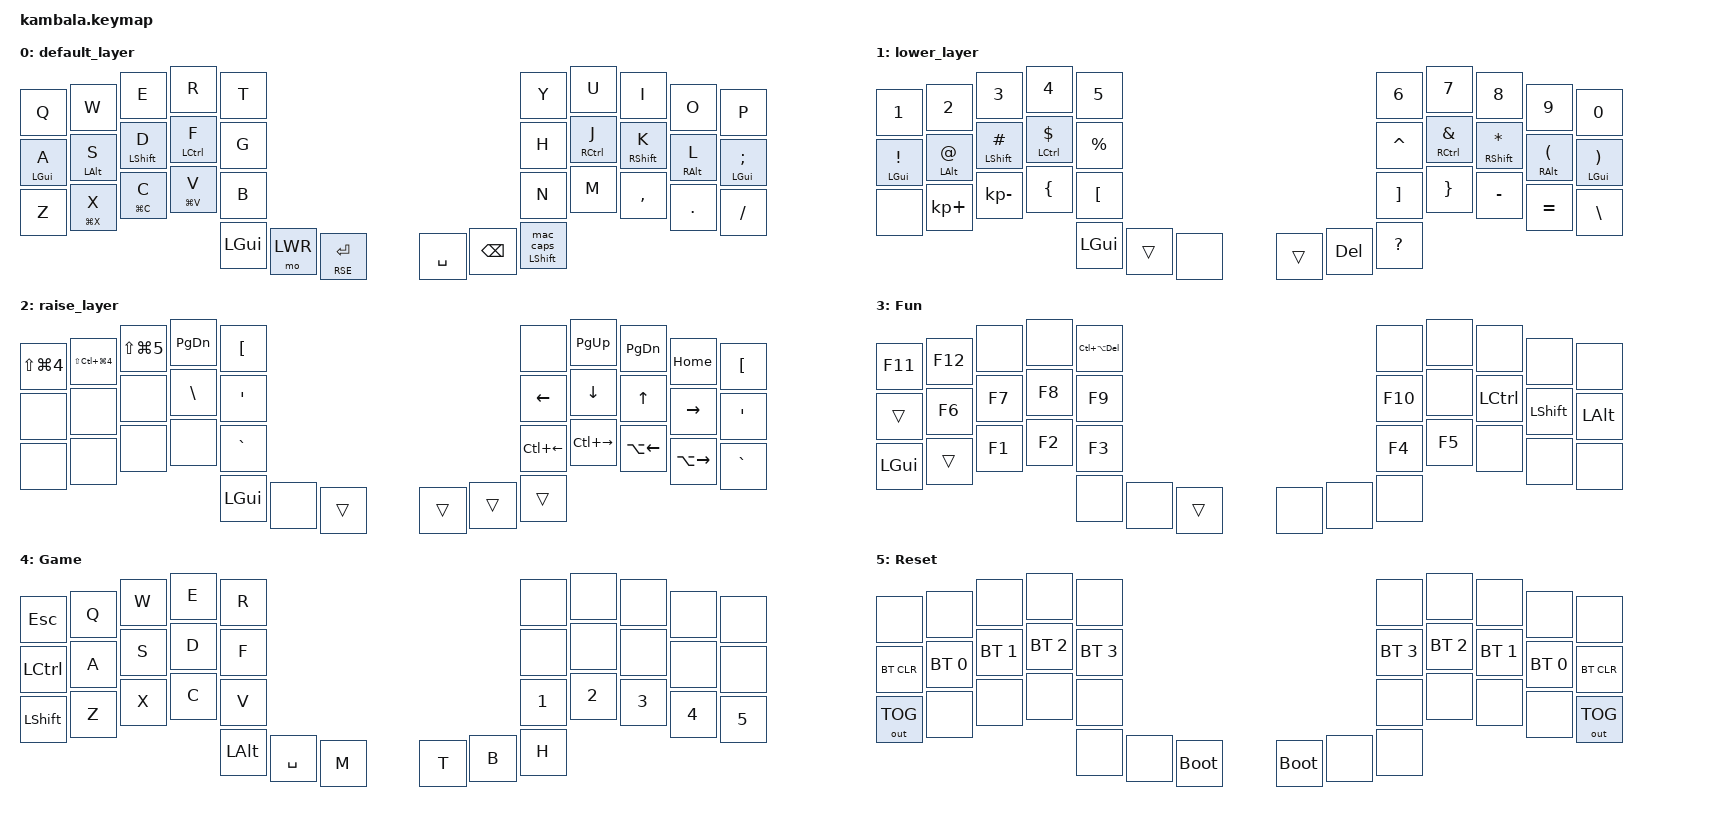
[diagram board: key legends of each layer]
/*
 * Copyright (c) 2020 The ZMK Contributors
 *
 * SPDX-License-Identifier: MIT
 */

#include <behaviors.dtsi>
#include <dt-bindings/zmk/keys.h>
#include <dt-bindings/zmk/bt.h>
#include <dt-bindings/zmk/outputs.h>
 
#define KEYS_L 0 1 2 3 4 10 11 12 13 14 20 21 22 23 24
#define KEYS_R 5 6 7 8 9 15 16 17 18 19 25 26 27 28 29
#define THUMBS 30 31 32 33 34 35
#define DEF 0
#define LWR 1
#define RSE 2
#define FUNCTION 3
#define GAME 4
#define RESET 5

&soft_off {
    compatible = "zmk,behavior-soft-off-led";
    hold-time-ms = <3000>;
    /delete-property/ split-peripheral-off-on-press;
};

&mt { flavor = "tap-preferred"; };

&lt {
    flavor = "balanced";
    tapping-term-ms = <200>;
    quick-tap-ms = <175>;
};

/ {

    macros {
        mac_caps: mac_caps {
            compatible = "zmk,behavior-macro";
            #binding-cells = <0>;
            tap-ms = <40>;     /* Holds the key down long enough for macOS to catch it */
            wait-ms = <40>;    /* Enforces isolation from the Shift release track */
            bindings = <&kp CAPS>;
        };
    };

    behaviors {
        shft_caps: shft_caps {
            compatible = "zmk,behavior-hold-tap";
            #binding-cells = <2>;
            flavor = "tap-preferred";
            tapping-term-ms = <200>;
            quick-tap-ms = <175>;
            bindings = <&kp>, <&mac_caps>; // Binds the macro strictly to the tap action
        };

        hml: hml {
            compatible = "zmk,behavior-hold-tap";
            #binding-cells = <2>;
            flavor = "balanced";
            tapping-term-ms = <2000>;
            quick-tap-ms = <175>;
            require-prior-idle-ms = <250>;
            hold-trigger-key-positions = <KEYS_R THUMBS>;
            hold-trigger-on-release;
            bindings = <&kp>, <&kp>;
        };

        hmr: hmr {
            compatible = "zmk,behavior-hold-tap";
            #binding-cells = <2>;
            flavor = "balanced";
            tapping-term-ms = <2000>;
            quick-tap-ms = <175>;
            require-prior-idle-ms = <250>;
            hold-trigger-key-positions = <KEYS_L THUMBS>;
            hold-trigger-on-release;
            bindings = <&kp>, <&kp>;
        };

        hml_s: hml_s {
            compatible = "zmk,behavior-hold-tap";
            #binding-cells = <2>;
            flavor = "balanced";
            tapping-term-ms = <2000>;
            quick-tap-ms = <175>;
            require-prior-idle-ms = <0>;
            hold-trigger-key-positions = <KEYS_R THUMBS>;
            hold-trigger-on-release;
            bindings = <&kp>, <&kp>;
        };

        hmr_s: hmr_s {
            compatible = "zmk,behavior-hold-tap";
            #binding-cells = <2>;
            flavor = "balanced";
            tapping-term-ms = <2000>;
            quick-tap-ms = <175>;
            require-prior-idle-ms = <0>;
            hold-trigger-key-positions = <KEYS_L THUMBS>;
            hold-trigger-on-release;
            bindings = <&kp>, <&kp>;
        };
    };

    combos {
        compatible = "zmk,combos";
        timeout-ms = <20>;
        require-prior-idle-ms = <250>;

        combo_reset_layer_left {
            key-positions = <20 24>;
            bindings = <&to RESET>;
        };

        combo_reset_layer_right {
            key-positions = <25 29>;
            bindings = <&to RESET>;
        };

        combo_reset_central {
            key-positions = <32 33>;
            bindings = <&bootloader>;
            require-prior-idle-ms = <2000>;
        };

        combo_normal {
            key-positions = <7 8>;
            bindings = <&to DEF>;
        };

        combo_fn {
            key-positions = <27 28>;
            bindings = <&sl FUNCTION>;
        };

        combo_game {
            key-positions = <5 9>;
            bindings = <&to GAME>;
        };

        combo_esc {
            key-positions = <1 2>;
            bindings = <&kp ESCAPE>;
        };

        combo_tab {
            key-positions = <2 3>;
            bindings = <&kp TAB>;
        };

        combo_cdel {
            key-positions = <11 12>;
            bindings = <&kp LC(BACKSPACE)>;
        };

        combo_term1 {
            key-positions = <20 21>;
            bindings = <&kp LG(BSLH)>;
        };

        combo_term2 {
            key-positions = <28 29>;
            bindings = <&kp LG(GRAVE)>;
        };

        combo_softoff {
            key-positions = <3 4>;
            bindings = <&soft_off>;
        };
    };

    keymap {
        compatible = "zmk,keymap";

        default_layer {
            bindings = <
&kp Q        &kp W        &kp E         &kp R         &kp T        &kp Y      &kp U          &kp I           &kp O        &kp P
&hml LGUI A  &hml LALT S  &hml LSHFT D  &hml LCTRL F  &kp G        &kp H      &hmr RCTRL J   &hmr RSHFT K    &hmr RALT L  &hmr LGUI SEMI
&kp Z        &mt LG(X) X  &mt LG(C) C   &mt LG(V) V   &kp B        &kp N      &kp M          &kp COMMA       &kp DOT      &kp FSLH
                          &kp LGUI      &mo LWR       &lt RSE RET  &kp SPACE  &kp BACKSPACE  &shft_caps LSHFT 0
            >;
        };

        lower_layer {
            bindings = <
&kp N1            &kp N2          &kp N3             &kp N4               &kp N5            &kp N6             &kp N7             &kp N8              &kp N9                        &kp N0
&hml_s LGUI EXCL  &hml_s LALT AT  &hml_s LSHFT HASH  &hml_s LCTRL DOLLAR  &kp PERCENT       &kp CARET          &hmr_s RCTRL AMPS  &hmr_s RSHFT ASTRK  &hmr_s RALT LEFT_PARENTHESIS  &hmr_s LGUI RIGHT_PARENTHESIS
&none             &kp KP_PLUS     &kp KP_MINUS       &kp LEFT_BRACE       &kp LEFT_BRACKET  &kp RIGHT_BRACKET  &kp RIGHT_BRACE    &kp MINUS           &kp EQUAL                     &kp BSLH
                                  &kp LGUI           &trans               &none             &trans             &kp DEL            &kp QMARK
            >;
        };

        raise_layer {
            bindings = <
&kp LS(LG(N4))  &kp LS(LC(LG(N4)))  &kp LS(LG(N5))  &kp PAGE_DOWN  &kp LBKT   &none               &kp PG_UP            &kp PG_DN     &kp HOME       &kp LBKT
&none           &none               &none           &kp BSLH       &kp SQT    &kp LEFT            &kp DOWN             &kp UP_ARROW  &kp RIGHT      &kp SQT
&none           &none               &none           &none          &kp GRAVE  &kp LC(LEFT_ARROW)  &kp LC(RIGHT_ARROW)  &kp LA(LEFT)  &kp LA(RIGHT)  &kp GRAVE
                                    &kp LGUI        &none          &trans     &trans              &trans               &trans
            >;
        };

        Fun {
            bindings = <
&kp F11   &kp F12  &none   &none   &kp LC(LA(DEL))  &none    &none   &none      &none      &none
&trans    &kp F6   &kp F7  &kp F8  &kp F9           &kp F10  &none   &kp LCTRL  &kp LSHFT  &kp LALT
&kp LGUI  &trans   &kp F1  &kp F2  &kp F3           &kp F4   &kp F5  &none      &none      &none
                   &none   &none   &trans           &none    &none   &none
            >;
        };

        Game {
            bindings = <
&kp ESCAPE  &kp Q  &kp W     &kp E      &kp R  &none   &none   &none   &none   &none
&kp LCTRL   &kp A  &kp S     &kp D      &kp F  &none   &none   &none   &none   &none
&kp LSHIFT  &kp Z  &kp X     &kp C      &kp V  &kp N1  &kp N2  &kp N3  &kp N4  &kp N5
                   &kp LALT  &kp SPACE  &kp M  &kp T   &kp B   &kp H
            >;
        };

        Reset {
            bindings = <
&none         &none         &none         &none         &none         &none         &none         &none         &none         &none
&bt BT_CLR    &bt BT_SEL 0  &bt BT_SEL 1  &bt BT_SEL 2  &bt BT_SEL 3  &bt BT_SEL 3  &bt BT_SEL 2  &bt BT_SEL 1  &bt BT_SEL 0  &bt BT_CLR
&out OUT_TOG  &none         &none         &none         &none         &none         &none         &none         &none         &out OUT_TOG
                            &none         &none         &bootloader   &bootloader   &none         &none
            >;
        };
    };
};
